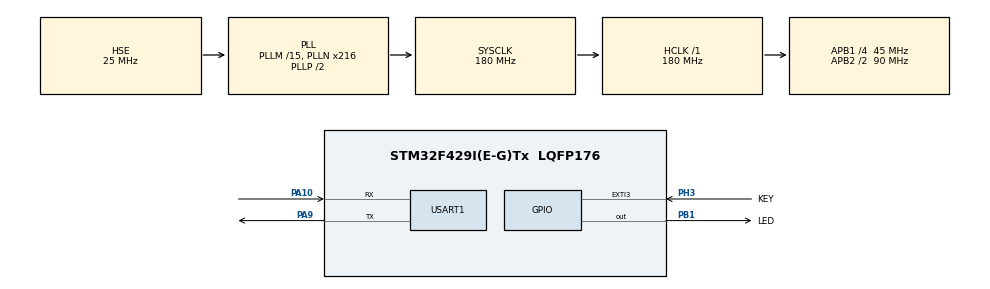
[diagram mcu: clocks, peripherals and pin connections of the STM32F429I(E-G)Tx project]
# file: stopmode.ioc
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Mcu.Family=STM32F4
Mcu.Name=STM32F429I(E-G)Tx
Mcu.Package=LQFP176
NVIC.EXTI3_IRQn=true\:0\:0\:false\:false\:true\:true\:true\:true
NVIC.PriorityGroup=NVIC_PRIORITYGROUP_4
PA10.Mode=Asynchronous
PA10.Signal=USART1_RX
PA13.Mode=Serial_Wire
PA13.Signal=SYS_JTMS-SWDIO
PA14.Mode=Serial_Wire
PA14.Signal=SYS_JTCK-SWCLK
PA9.Mode=Asynchronous
PA9.Signal=USART1_TX
PB1.GPIO_Label=LED
PB1.GPIO_PuPd=GPIO_PULLUP
PB1.PinState=GPIO_PIN_SET
PB1.Signal=GPIO_Output
PH0/OSC_IN.Mode=HSE-External-Oscillator
PH0/OSC_IN.Signal=RCC_OSC_IN
PH1/OSC_OUT.Mode=HSE-External-Oscillator
PH1/OSC_OUT.Signal=RCC_OSC_OUT
PH3.GPIO_Label=KEY
PH3.GPIO_ModeDefaultEXTI=GPIO_MODE_IT_FALLING
PH3.GPIO_PuPd=GPIO_PULLUP
PH3.Signal=GPXTI3
ProjectManager.HeapSize=0x200
ProjectManager.StackSize=0x400
ProjectManager.TargetToolchain=MDK-ARM V5
RCC.48MHZClocksFreq_Value=90000000
RCC.AHBFreq_Value=180000000
RCC.APB1CLKDivider=RCC_HCLK_DIV4
RCC.APB1Freq_Value=45000000
RCC.APB1TimFreq_Value=90000000
RCC.APB2CLKDivider=RCC_HCLK_DIV2
RCC.APB2Freq_Value=90000000
RCC.APB2TimFreq_Value=180000000
RCC.CortexFreq_Value=180000000
RCC.HCLKFreq_Value=180000000
RCC.HSE_VALUE=25000000
RCC.HSI_VALUE=16000000
RCC.LSE_VALUE=32768
RCC.PLLM=15
RCC.PLLN=216
RCC.PLLSourceVirtual=RCC_PLLSOURCE_HSE
RCC.SYSCLKFreq_VALUE=180000000
RCC.SYSCLKSource=RCC_SYSCLKSOURCE_PLLCLK
RCC.VCOOutputFreq_Value=360000000
USART1.VirtualMode=VM_ASYNC
board=custom

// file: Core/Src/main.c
/* USER CODE BEGIN Header */
/**
  ******************************************************************************
  * @file           : main.c
  * @brief          : Main program body
  ******************************************************************************
  * @attention
  *
  * Copyright (c) 2025 STMicroelectronics.
  * All rights reserved.
  *
  * This software is licensed under terms that can be found in the LICENSE file
  * in the root directory of this software component.
  * If no LICENSE file comes with this software, it is provided AS-IS.
  *
  ******************************************************************************
  */
/* USER CODE END Header */
#include "main.h"
#include "usart.h"
#include "gpio.h"

/* USER CODE BEGIN Includes */
#include <stdio.h>
/* USER CODE END Includes */

void SystemClock_Config(void);

/* USER CODE BEGIN 0 */
/* printf重定向 */
int fputc(int ch, FILE *f)
{
    HAL_UART_Transmit(&huart1, (uint8_t *)&ch, 1, 10);
    return ch;
}

/* LED控制宏 */
#define LED_ON()     HAL_GPIO_WritePin(LED_GPIO_Port, LED_Pin, GPIO_PIN_RESET)
#define LED_OFF()    HAL_GPIO_WritePin(LED_GPIO_Port, LED_Pin, GPIO_PIN_SET)

/**
 * @brief  LED闪烁
 */
void LED_Blink(uint8_t times, uint32_t interval)
{
    for (uint8_t i = 0; i < times; i++) {
        LED_ON();
        HAL_Delay(interval);
        LED_OFF();
        HAL_Delay(interval);
    }
}

/**
 * @brief  进入Stop模式
 * @note   只有EXTI中断能唤醒
 * @note   唤醒后必须重新配置系统时钟
 */
void Enter_Stop_Mode(void)
{
    printf("Entering Stop mode...\r\n");
    HAL_Delay(10);  /* 等待串口发送完成 */

    /* 暂停SysTick */
    HAL_SuspendTick();

    /*
     * 进入Stop模式
     * - PWR_LOWPOWERREGULATOR_ON: 低功耗调节器，功耗更低
     * - PWR_STOPENTRY_WFI: WFI方式进入
     */
    HAL_PWR_EnterSTOPMode(PWR_LOWPOWERREGULATOR_ON, PWR_STOPENTRY_WFI);

    /* ===== 唤醒后从这里继续执行 ===== */

    /*
     * 重要！唤醒后时钟变成HSI(16MHz)
     * 必须重新配置系统时钟到原来的180MHz
     */
    SystemClock_Config();

    /* 恢复SysTick */
    HAL_ResumeTick();

    printf("Wakeup from Stop!\r\n");
}
/* USER CODE END 0 */

int main(void)
{

  /* MCU Configuration--------------------------------------------------------*/

  /* Reset of all peripherals, Initializes the Flash interface and the Systick. */
  HAL_Init();

  /* Configure the system clock */
  SystemClock_Config();

  /* Initialize all configured peripherals */
  MX_GPIO_Init();
  MX_USART1_UART_Init();

  /* Infinite loop */
  /* USER CODE BEGIN WHILE */
  while (1)
  {
		/* 进入Stop模式 */
		Enter_Stop_Mode();

		/* 唤醒后：LED亮3秒 */
		LED_ON();
		HAL_Delay(3000);
		LED_OFF();

		/* 闪烁3次，准备再次进入Stop */
		LED_Blink(3, 200);
    /* USER CODE END WHILE */

  }
}

void SystemClock_Config(void)
{
  RCC_OscInitTypeDef RCC_OscInitStruct = {0};
  RCC_ClkInitTypeDef RCC_ClkInitStruct = {0};

  /** Configure the main internal regulator output voltage
  */
  __HAL_RCC_PWR_CLK_ENABLE();
  __HAL_PWR_VOLTAGESCALING_CONFIG(PWR_REGULATOR_VOLTAGE_SCALE1);

  /** Initializes the RCC Oscillators according to the specified parameters
  * in the RCC_OscInitTypeDef structure.
  */
  RCC_OscInitStruct.OscillatorType = RCC_OSCILLATORTYPE_HSE;
  RCC_OscInitStruct.HSEState = RCC_HSE_ON;
  RCC_OscInitStruct.PLL.PLLState = RCC_PLL_ON;
  RCC_OscInitStruct.PLL.PLLSource = RCC_PLLSOURCE_HSE;
  RCC_OscInitStruct.PLL.PLLM = 15;
  RCC_OscInitStruct.PLL.PLLN = 216;
  RCC_OscInitStruct.PLL.PLLP = RCC_PLLP_DIV2;
  RCC_OscInitStruct.PLL.PLLQ = 4;
  if (HAL_RCC_OscConfig(&RCC_OscInitStruct) != HAL_OK)
  {
    Error_Handler();
  }

  /** Activate the Over-Drive mode
  */
  if (HAL_PWREx_EnableOverDrive() != HAL_OK)
  {
    Error_Handler();
  }

  /** Initializes the CPU, AHB and APB buses clocks
  */
  RCC_ClkInitStruct.ClockType = RCC_CLOCKTYPE_HCLK|RCC_CLOCKTYPE_SYSCLK
                              |RCC_CLOCKTYPE_PCLK1|RCC_CLOCKTYPE_PCLK2;
  RCC_ClkInitStruct.SYSCLKSource = RCC_SYSCLKSOURCE_PLLCLK;
  RCC_ClkInitStruct.AHBCLKDivider = RCC_SYSCLK_DIV1;
  RCC_ClkInitStruct.APB1CLKDivider = RCC_HCLK_DIV4;
  RCC_ClkInitStruct.APB2CLKDivider = RCC_HCLK_DIV2;

  if (HAL_RCC_ClockConfig(&RCC_ClkInitStruct, FLASH_LATENCY_5) != HAL_OK)
  {
    Error_Handler();
  }
}

/* USER CODE BEGIN 4 */
void HAL_GPIO_EXTI_Callback(uint16_t GPIO_Pin)
{
    if (GPIO_Pin == KEY_Pin) {
        /* EXTI唤醒Stop模式 */
        /* 唤醒后自动从WFI下一行继续执行 */
    }
}
/* USER CODE END 4 */

void Error_Handler(void)
{
  __disable_irq();
  while (1)
  {
  }
}
